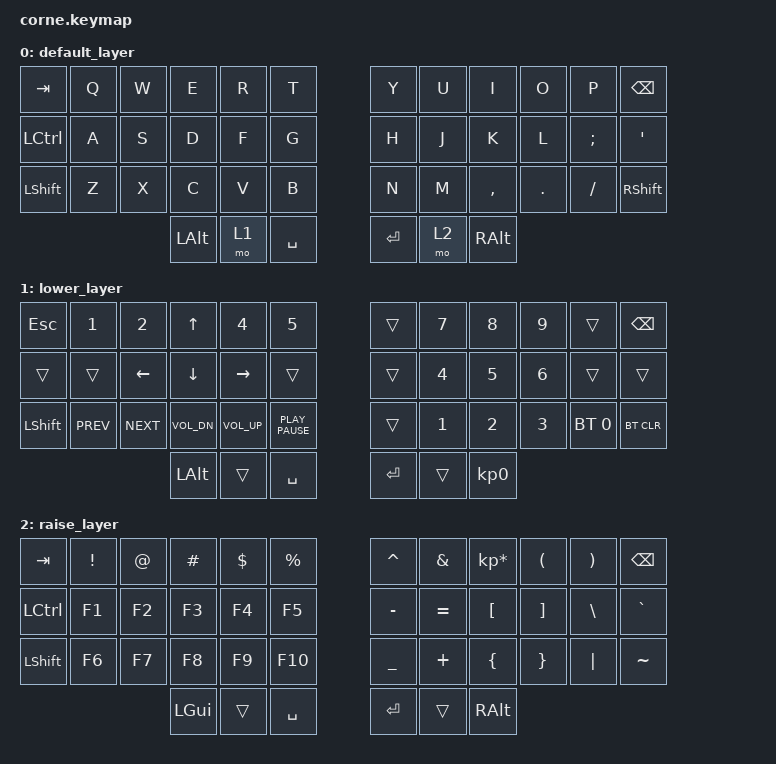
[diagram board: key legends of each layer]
/*
 * Copyright (c) 2020 The ZMK Contributors
 *
 * SPDX-License-Identifier: MIT
 */

#include <behaviors.dtsi>
#include <dt-bindings/zmk/bt.h>
#include <dt-bindings/zmk/keys.h>

/ {
    keymap {
        compatible = "zmk,keymap";

        default_layer {
            // -----------------------------------------------------------------------------------------
            // |  TAB |  Q  |  W  |  E  |  R  |  T  |   |  Y  |  U   |  I  |  O  |  P  | BKSP |
            // | CTRL |  A  |  S  |  D  |  F  |  G  |   |  H  |  J   |  K  |  L  |  ;  |  '   |
            // | SHFT |  Z  |  X  |  C  |  V  |  B  |   |  N  |  M   |  ,  |  .  |  /  | ESC  |
            //                    | GUI | LWR | SPC |   | ENT | RSE  | ALT |

            bindings = <
  &kp TAB  &kp Q  &kp W         &kp E  &kp R      &kp T      &kp Y  &kp U      &kp I    &kp O     &kp P         &kp BSPC
&kp LCTRL  &kp A  &kp S         &kp D  &kp F      &kp G      &kp H  &kp J      &kp K    &kp L  &kp SEMI          &kp SQT
&kp LSHFT  &kp Z  &kp X         &kp C  &kp V      &kp B      &kp N  &kp M  &kp COMMA  &kp DOT  &kp FSLH  &kp RIGHT_SHIFT
                         &kp LEFT_ALT  &mo 1  &kp SPACE    &kp RET  &mo 2   &kp RALT
            >;
        };

        lower_layer {
            // -----------------------------------------------------------------------------------------
            // |  TAB |  1  |  2  |  3  |  4  |  5  |   |  6  |  7  |  8  |  9  |  0  | BKSP |
            // | BTCLR| BT1 | BT2 | BT3 | BT4 | BT5 |   | LFT | DWN |  UP | RGT |     |      |
            // | SHFT |     |     |     |     |     |   |     |     |     |     |     |      |
            //                    | GUI |     | SPC |   | ENT |     | ALT |

            bindings = <
&kp ESCAPE      &kp N1      &kp N2  &kp UP_ARROW        &kp N4            &kp N5     &trans  &kp NUMBER_7        &kp N8        &kp N9        &trans    &kp BSPC
    &trans      &trans    &kp LEFT      &kp DOWN     &kp RIGHT            &trans     &trans  &kp NUMBER_4  &kp NUMBER_5  &kp NUMBER_6        &trans      &trans
 &kp LSHFT  &kp K_PREV  &kp K_NEXT  &kp C_VOL_DN  &kp C_VOL_UP  &kp K_PLAY_PAUSE     &trans        &kp N1  &kp NUMBER_2        &kp N3  &bt BT_SEL 0  &bt BT_CLR
                                    &kp LEFT_ALT        &trans         &kp SPACE    &kp RET        &trans     &kp KP_N0
            >;
        };

        raise_layer {
            // -----------------------------------------------------------------------------------------
            // |  TAB |  !  |  @  |  #  |  $  |  %  |   |  ^  |  &  |  *  |  (  |  )  | BKSP |
            // | CTRL |     |     |     |     |     |   |  -  |  =  |  [  |  ]  |  \  |  `   |
            // | SHFT |     |     |     |     |     |   |  _  |  +  |  {  |  }  | "|" |  ~   |
            //                    | GUI |     | SPC |   | ENT |     | ALT |

            bindings = <
  &kp TAB  &kp EXCL  &kp AT  &kp HASH  &kp DLLR  &kp PRCNT    &kp CARET   &kp AMPS  &kp KP_MULTIPLY  &kp LPAR  &kp RPAR   &kp BSPC
&kp LCTRL    &kp F1  &kp F2    &kp F3    &kp F4     &kp F5    &kp MINUS  &kp EQUAL         &kp LBKT  &kp RBKT  &kp BSLH  &kp GRAVE
&kp LSHFT    &kp F6  &kp F7    &kp F8    &kp F9    &kp F10    &kp UNDER   &kp PLUS         &kp LBRC  &kp RBRC  &kp PIPE  &kp TILDE
                             &kp LGUI    &trans  &kp SPACE      &kp RET     &trans         &kp RALT
            >;
        };
    };
};
